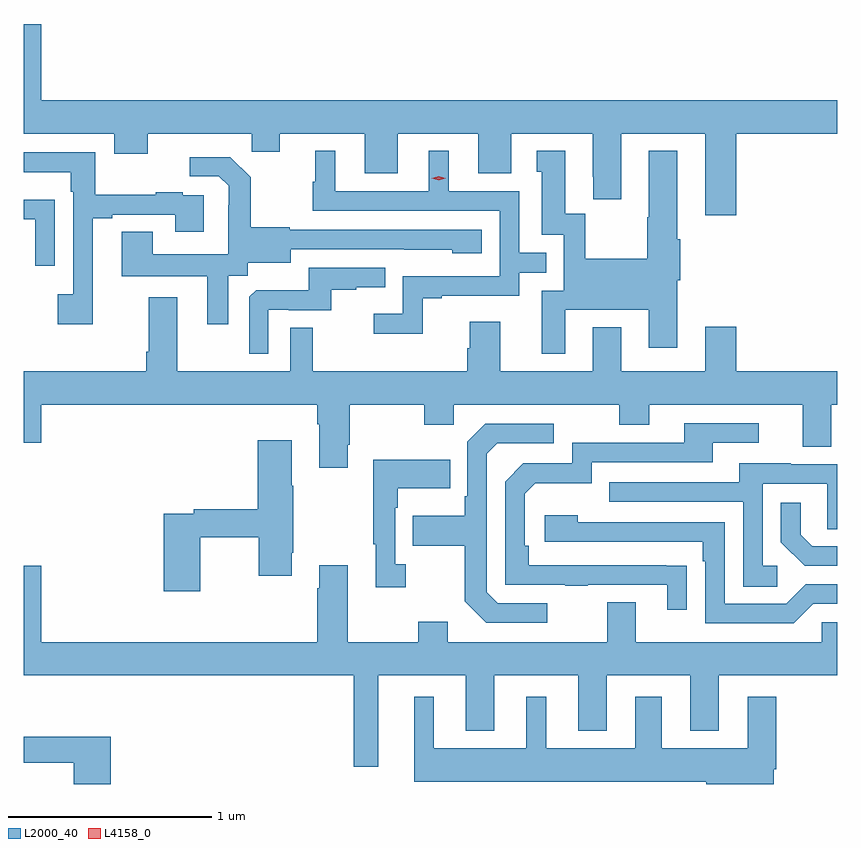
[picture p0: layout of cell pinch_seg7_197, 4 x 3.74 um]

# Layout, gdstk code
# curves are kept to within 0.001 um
import gdstk
lib = gdstk.Library(unit=1e-6, precision=1e-09)
def P(c, l, *ps):  # polygons
    for p in ps: c.add(gdstk.Polygon(p, *l))
L2000_40 = (2000, 40)
L4158_0 = (4158, 0)

pinch_seg7_197 = lib.new_cell('pinch_seg7_197')
P(pinch_seg7_197, L2000_40, [(720.038,1012.604),(720.535,1012.604),(720.535,1012.768),(716.62,1012.768),(716.62,1013.143),(716.535,1013.143),(716.535,1012.604),(716.981,1012.604),(716.981,1012.505),(717.145,1012.505),(717.145,1012.604),(717.655,1012.604),(717.655,1012.514),(717.793,1012.514),(717.793,1012.604),(718.211,1012.604),(718.211,1012.41),(718.375,1012.41),(718.375,1012.604),(718.769,1012.604),(718.769,1012.41),(718.933,1012.41),(718.933,1012.604),(719.333,1012.604),(719.333,1012.393),(719.336,1012.393),(719.336,1012.281),(719.473,1012.281),(719.473,1012.604),(719.885,1012.604),(719.885,1012.203),(720.038,1012.203)],
  [(719.197,1011.737),(719.609,1011.737),(719.609,1011.552),(719.749,1011.552),(719.749,1011.884),(719.762,1011.884),(719.762,1012.084),(719.749,1012.084),(719.749,1012.519),(719.609,1012.519),(719.609,1012.193),(719.602,1012.193),(719.602,1011.988),(719.295,1011.988),(719.295,1012.211),(719.197,1012.211),(719.197,1012.519),(719.057,1012.519),(719.057,1012.416),(719.081,1012.416),(719.081,1012.107),(719.19,1012.107),(719.19,1011.831),(719.081,1011.831),(719.081,1011.522),(719.197,1011.522)],
  [(718.497,1011.795),(718.591,1011.795),(718.591,1011.807),(718.971,1011.807),(718.971,1011.921),(719.105,1011.921),(719.105,1012.017),(718.971,1012.017),(718.971,1012.32),(718.624,1012.32),(718.624,1012.519),(718.526,1012.519),(718.526,1012.32),(718.066,1012.32),(718.066,1012.519),(717.968,1012.519),(717.968,1012.368),(717.957,1012.368),(717.957,1012.224),(718.875,1012.224),(718.875,1011.903),(718.398,1011.903),(718.398,1011.718),(718.257,1011.718),(718.257,1011.62),(718.497,1011.62)],
  [(716.875,1012.188),(716.971,1012.188),(716.971,1012.206),(717.281,1012.206),(717.281,1012.122),(717.421,1012.122),(717.421,1012.302),(717.317,1012.302),(717.317,1012.315),(717.185,1012.315),(717.185,1012.304),(716.887,1012.304),(716.887,1012.512),(716.535,1012.512),(716.535,1012.415),(716.766,1012.415),(716.766,1012.319),(716.778,1012.319),(716.778,1011.814),(716.703,1011.814),(716.703,1011.666),(716.875,1011.666)],
  [(717.541,1011.904),(717.636,1011.904),(717.636,1011.968),(717.847,1011.968),(717.847,1012.035),(718.641,1012.034),(718.641,1012.016),(718.786,1012.016),(718.786,1012.131),(717.843,1012.131),(717.843,1012.144),(717.651,1012.144),(717.651,1012.389),(717.551,1012.489),(717.351,1012.489),(717.351,1012.395),(717.495,1012.395),(717.542,1012.348),(717.542,1012.253),(717.54,1012.253),(717.54,1012.012),(717.169,1012.012),(717.169,1012.121),(717.017,1012.121),(717.017,1011.902),(717.437,1011.902),(717.437,1011.666),(717.541,1011.666)],
  [(716.688,1012.279),(716.535,1012.279),(716.535,1012.182),(716.592,1012.182),(716.592,1011.954),(716.688,1011.954)],
  [(717.738,1011.738),(717.838,1011.738),(717.838,1011.735),(718.046,1011.735),(718.046,1011.837),(718.169,1011.837),(718.169,1011.848),(718.313,1011.848),(718.313,1011.945),(717.936,1011.945),(717.936,1011.833),(717.677,1011.833),(717.645,1011.801),(717.645,1011.521),(717.738,1011.521)],
  [(718.129,1011.073),(718.137,1011.073),(718.137,1011.272),(718.504,1011.272),(718.504,1011.173),(718.65,1011.173),(718.65,1011.272),(719.464,1011.272),(719.464,1011.173),(719.611,1011.173),(719.611,1011.272),(720.365,1011.272),(720.365,1011.064),(720.505,1011.064),(720.505,1011.272),(720.535,1011.272),(720.535,1011.436),(720.038,1011.436),(720.038,1011.655),(719.885,1011.655),(719.885,1011.436),(719.473,1011.436),(719.473,1011.652),(719.333,1011.652),(719.333,1011.436),(718.879,1011.436),(718.879,1011.679),(718.727,1011.679),(718.727,1011.549),(718.715,1011.549),(718.715,1011.436),(717.955,1011.436),(717.955,1011.65),(717.846,1011.65),(717.846,1011.436),(717.289,1011.436),(717.289,1011.799),(717.149,1011.799),(717.149,1011.532),(717.137,1011.532),(717.137,1011.436),(716.535,1011.436),(716.535,1011.084),(716.62,1011.084),(716.62,1011.272),(717.977,1011.272),(717.977,1011.176),(717.989,1011.176),(717.989,1010.961),(718.129,1010.961)],
  [(719.795,1010.48),(719.018,1010.481),(719.018,1010.578),(718.998,1010.578),(718.998,1010.832),(719.051,1010.885),(719.328,1010.885),(719.328,1010.988),(719.923,1010.988),(719.923,1011.084),(720.148,1011.084),(720.148,1011.18),(719.783,1011.18),(719.783,1011.084),(719.232,1011.084),(719.232,1010.982),(718.992,1010.982),(718.902,1010.892),(718.902,1010.385),(719.197,1010.385),(719.197,1010.38),(719.309,1010.38),(719.309,1010.385),(719.699,1010.385),(719.699,1010.262),(719.795,1010.262)],
  [(719.11,1010.295),(718.866,1010.295),(718.812,1010.349),(718.812,1011.03),(718.863,1011.081),(719.14,1011.081),(719.14,1011.177),(718.803,1011.177),(718.716,1011.09),(718.716,1010.821),(718.704,1010.821),(718.704,1010.725),(718.447,1010.725),(718.447,1010.578),(718.704,1010.578),(718.704,1010.305),(718.809,1010.199),(719.11,1010.199)],
  [(717.402,1010.62),(717.691,1010.62),(717.691,1010.43),(717.853,1010.43),(717.853,1010.542),(717.861,1010.542),(717.861,1010.873),(717.853,1010.873),(717.853,1011.097),(717.686,1011.097),(717.686,1010.756),(717.37,1010.756),(717.37,1010.736),(717.224,1010.736),(717.224,1010.355),(717.402,1010.355)],
  [(718.414,1010.486),(718.362,1010.486),(718.362,1010.765),(718.375,1010.765),(718.375,1010.861),(718.631,1010.861),(718.631,1011.001),(718.254,1011.001),(718.254,1010.585),(718.265,1010.585),(718.265,1010.373),(718.414,1010.373)],
  [(720.241,1010.478),(720.168,1010.478),(720.168,1010.883),(720.486,1010.883),(720.486,1010.659),(720.535,1010.659),(720.535,1010.979),(720.307,1010.979),(720.307,1010.983),(720.053,1010.983),(720.053,1010.889),(719.413,1010.889),(719.413,1010.793),(720.072,1010.793),(720.072,1010.377),(720.241,1010.377)],
  [(720.535,1010.574),(720.412,1010.574),(720.355,1010.631),(720.355,1010.788),(720.258,1010.788),(720.258,1010.594),(720.374,1010.478),(720.535,1010.478)],
  [(720.417,1010.292),(720.535,1010.292),(720.535,1010.388),(720.381,1010.388),(720.285,1010.292),(719.982,1010.292),(719.982,1010.694),(719.258,1010.694),(719.258,1010.728),(719.097,1010.728),(719.097,1010.598),(719.873,1010.598),(719.873,1010.501),(719.886,1010.501),(719.886,1010.196),(720.321,1010.196)],
  [(718.279,1009.94),(718.709,1009.94),(718.709,1009.667),(718.849,1009.667),(718.849,1009.94),(719.261,1009.94),(719.261,1009.667),(719.401,1009.667),(719.401,1009.94),(719.813,1009.94),(719.813,1009.667),(719.953,1009.667),(719.953,1009.94),(720.535,1009.94),(720.535,1010.202),(720.459,1010.202),(720.459,1010.104),(719.545,1010.104),(719.545,1010.299),(719.405,1010.299),(719.405,1010.104),(718.621,1010.104),(718.621,1010.203),(718.474,1010.203),(718.474,1010.104),(718.129,1010.104),(718.129,1010.482),(717.989,1010.482),(717.989,1010.369),(717.977,1010.369),(717.977,1010.104),(716.62,1010.104),(716.62,1010.479),(716.535,1010.479),(716.535,1009.94),(718.158,1009.94),(718.158,1009.491),(718.279,1009.491)],
  [(720.223,1009.478),(720.236,1009.478),(720.236,1009.834),(720.095,1009.834),(720.095,1009.582),(719.671,1009.582),(719.671,1009.834),(719.543,1009.834),(719.543,1009.582),(719.104,1009.582),(719.104,1009.834),(719.006,1009.834),(719.006,1009.582),(718.552,1009.582),(718.552,1009.834),(718.454,1009.834),(718.454,1009.418),(719.891,1009.418),(719.891,1009.406),(720.223,1009.406)],
  [(716.963,1009.639),(716.535,1009.639),(716.535,1009.51),(716.78,1009.51),(716.78,1009.406),(716.963,1009.406)])
P(pinch_seg7_197, L4158_0, [(718.575,1012.375),(718.54,1012.385),(718.539,1012.385),(718.54,1012.385),(718.575,1012.395),(718.61,1012.385),(718.611,1012.385),(718.61,1012.385)])

lib.write_gds('pinch_seg7_197.gds')
